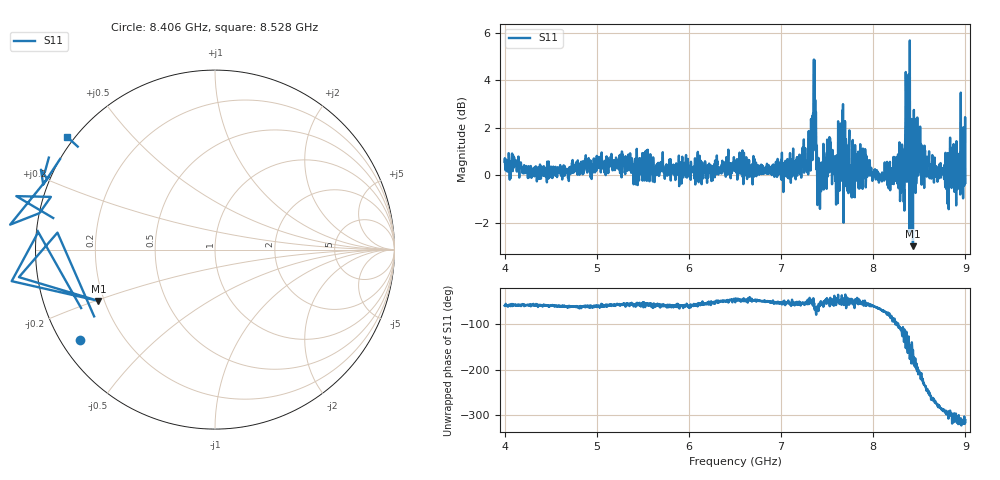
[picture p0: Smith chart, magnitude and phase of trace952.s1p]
! Created with skrf 1.8.0 (http://scikit-rf.org).
# Hz S RI R 50.0
!freq ReS11 ImS11
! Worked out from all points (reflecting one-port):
!   1601 points, 4 GHz to 9 GHz, reference 50 ohm
!   lowest |S11| = -3.0 dB at 8.431 GHz (marker M1), VSWR 5.90, Z = 8.84 - j10.2 ohm
!   phase of S11 starts at -59 deg and turns -253 deg over the sweep
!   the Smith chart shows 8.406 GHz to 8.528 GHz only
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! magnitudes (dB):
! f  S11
! 4 GHz  0.6
! 4.625 GHz  -0.2
! 5.25 GHz  0.3
! 5.875 GHz  0.4
! 6.5 GHz  0.3
! 7.125 GHz  0.3
! 7.294 GHz  0.0
! 7.347 GHz  2.6
! 7.372 GHz  3.2
! 7.409 GHz  0.2
! 7.525 GHz  1.6
! 7.609 GHz  -0.2
! 7.669 GHz  1.2
! 7.75 GHz  -0.1
! 7.775 GHz  1.4
! 7.891 GHz  0.0
! 8.262 GHz  -0.3
! 8.316 GHz  1.0
! 8.334 GHz  -0.6
! 8.375 GHz  3.2
! 8.412 GHz  -0.1
! 8.431 GHz  -3.0
! 8.459 GHz  -0.7
! 8.794 GHz  -0.2
! 8.847 GHz  0.6
! 8.919 GHz  -0.4
! 8.972 GHz  0.6
! 9 GHz  -0.3
